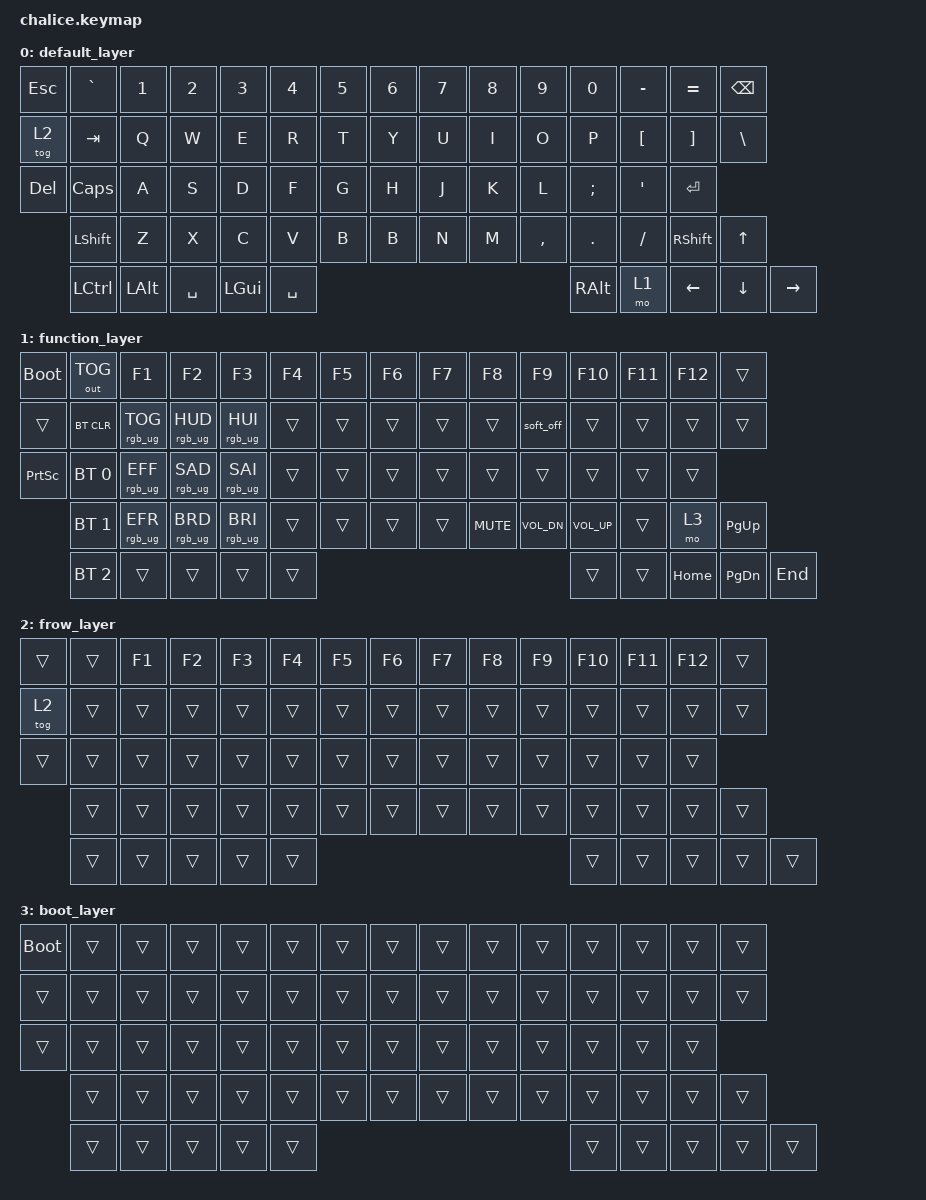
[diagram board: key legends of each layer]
/*
 * Copyright (c) 2021 The ZMK Contributors
 *
 * SPDX-License-Identifier: MIT
 */

#include <behaviors.dtsi>
#include <dt-bindings/zmk/keys.h>
#include <dt-bindings/zmk/bt.h>
#include <dt-bindings/zmk/rgb.h>
#include <dt-bindings/zmk/outputs.h>

/ {
        keymap {
                compatible = "zmk,keymap";

                default_layer {

                        bindings = <
   &kp ESC         &kp GRAVE    &kp N1       &kp N2       &kp N3       &kp N4       &kp N5       &kp N6       &kp N7       &kp N8       &kp N9       &kp N0       &kp MINUS    &kp EQUAL    &kp BSPC
   &tog 2          &kp TAB      &kp Q        &kp W        &kp E        &kp R        &kp T        &kp Y        &kp U        &kp I        &kp O        &kp P        &kp LBKT     &kp RBKT     &kp BSLH
   &kp DELETE      &kp CAPS     &kp A        &kp S        &kp D        &kp F        &kp G        &kp H        &kp J        &kp K        &kp L        &kp SEMI     &kp SQT      &kp ENTER
                   &kp LSHFT    &kp Z        &kp X        &kp C        &kp V        &kp B        &kp B        &kp N        &kp M        &kp COMMA    &kp DOT      &kp SLASH    &kp RSHFT    &kp UP
                   &kp LCTRL                 &kp LALT                  &kp SPACE    &kp LGUI                  &kp SPACE                 &kp RALT                  &mo 1        &kp LEFT     &kp DOWN     &kp RIGHT
                                >;
                        };

                function_layer {

                        bindings = <
   &bootloader     &out OUT_TOG &kp F1           &kp F2          &kp F3          &kp F4       &kp F5       &kp F6       &kp F7       &kp F8       &kp F9       &kp F10      &kp F11      &kp F12      &trans
   &trans          &bt BT_CLR   &rgb_ug RGB_TOG  &rgb_ug RGB_HUD &rgb_ug RGB_HUI &trans       &trans       &trans       &trans       &trans       &soft_off    &trans       &trans       &trans       &trans
   &kp PSCRN       &bt BT_SEL 0 &rgb_ug RGB_EFF  &rgb_ug RGB_SAD &rgb_ug RGB_SAI &trans       &trans       &trans       &trans       &trans       &trans       &trans       &trans       &trans
                   &bt BT_SEL 1 &rgb_ug RGB_EFR  &rgb_ug RGB_BRD &rgb_ug RGB_BRI &trans       &trans       &trans       &trans       &kp C_MUTE   &kp C_VOL_DN &kp C_VOL_UP &trans       &mo 3        &kp PG_UP
                   &bt BT_SEL 2                  &trans                          &trans       &trans                    &trans                    &trans                    &trans       &kp HOME     &kp PG_DN    &kp END
                                >;
                        };

				frow_layer {

                        bindings = <
   &trans         &trans    &kp F1       &kp F2       &kp F3       &kp F4       &kp F5       &kp F6       &kp F7       &kp F8       &kp F9       &kp F10       &kp F11    &kp F12    &trans
   &tog 2         &trans    &trans       &trans       &trans       &trans       &trans       &trans       &trans       &trans       &trans       &trans        &trans     &trans     &trans
   &trans         &trans    &trans       &trans       &trans       &trans       &trans       &trans       &trans       &trans       &trans       &trans        &trans     &trans
                  &trans    &trans       &trans       &trans       &trans       &trans       &trans       &trans       &trans       &trans       &trans        &trans     &trans     &trans
                  &trans                 &trans                    &trans       &trans                    &trans                    &trans                     &trans     &trans     &trans     &trans
                                >;
                        };
						
				boot_layer {

                        bindings = <
   &bootloader    &trans    &trans       &trans       &trans       &trans       &trans       &trans       &trans       &trans       &trans       &trans        &trans     &trans     &trans
   &trans         &trans    &trans       &trans       &trans       &trans       &trans       &trans       &trans       &trans       &trans       &trans        &trans     &trans     &trans
   &trans         &trans    &trans       &trans       &trans       &trans       &trans       &trans       &trans       &trans       &trans       &trans        &trans     &trans
                  &trans    &trans       &trans       &trans       &trans       &trans       &trans       &trans       &trans       &trans       &trans        &trans     &trans     &trans
                  &trans                 &trans                    &trans       &trans                    &trans                    &trans                     &trans     &trans     &trans     &trans
                                >;
                        };
        };
};
